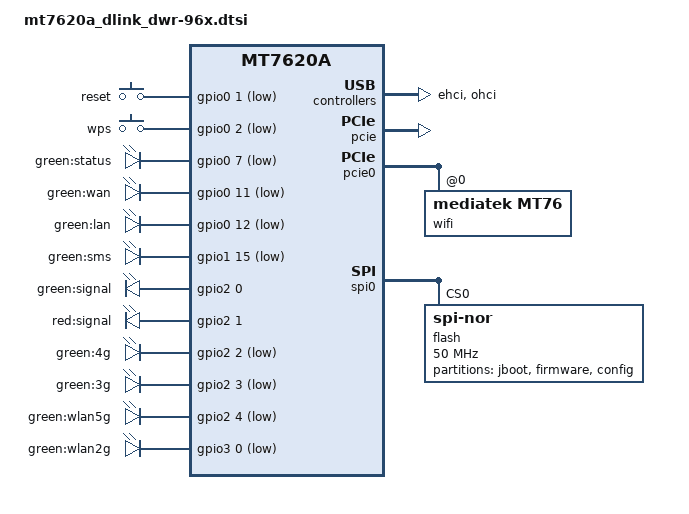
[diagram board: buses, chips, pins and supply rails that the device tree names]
// SPDX-License-Identifier: GPL-2.0-or-later
/*
 * D-Link DWR-96x Common Board Description
 * Copyright 2022 Pawel Dembicki <paweldembicki@gmail.com>
 */
#include "mt7620a.dtsi"

#include <dt-bindings/gpio/gpio.h>
#include <dt-bindings/input/input.h>
#include <dt-bindings/mtd/partitions/uimage.h>

/ {
	aliases {
		led-boot = &led_status;
		led-failsafe = &led_status;
		led-running = &led_status;
		led-upgrade = &led_status;
	};

	keys {
		compatible = "gpio-keys";

		reset {
			label = "reset";
			gpios = <&gpio0 1 GPIO_ACTIVE_LOW>;
			linux,code = <KEY_RESTART>;
		};

		wps {
			label = "wps";
			gpios = <&gpio0 2 GPIO_ACTIVE_LOW>;
			linux,code = <KEY_WPS_BUTTON>;
		};

	};

	leds {
		compatible = "gpio-leds";

		led_status: status {
			label = "green:status";
			gpios = <&gpio0 7 GPIO_ACTIVE_LOW>;
		};

		wan {
			label = "green:wan";
			gpios = <&gpio0 11 GPIO_ACTIVE_LOW>;
		};

		lan {
			label = "green:lan";
			gpios = <&gpio0 12 GPIO_ACTIVE_LOW>;
		};

		sms {
			label = "green:sms";
			gpios = <&gpio1 15 GPIO_ACTIVE_LOW>;
		};

		signal_green {
			label = "green:signal";
			gpios = <&gpio2 0 GPIO_ACTIVE_HIGH>;
		};

		signal_red {
			label = "red:signal";
			gpios = <&gpio2 1 GPIO_ACTIVE_HIGH>;
		};

		4g {
			label = "green:4g";
			gpios = <&gpio2 2 GPIO_ACTIVE_LOW>;
		};

		3g {
			label = "green:3g";
			gpios = <&gpio2 3 GPIO_ACTIVE_LOW>;
		};

		wlan5g {
			label = "green:wlan5g";
			gpios = <&gpio2 4 GPIO_ACTIVE_LOW>;
			linux,default-trigger = "phy0tpt";
		};

		wlan2g {
			label = "green:wlan2g";
			gpios = <&gpio3 0 GPIO_ACTIVE_LOW>;
			linux,default-trigger = "phy1tpt";
		};
	};
};

&ehci {
	status = "okay";
};

&gpio1 {
	status = "okay";
};

&gpio2 {
	status = "okay";
};

&gpio3 {
	status = "okay";
};

&ohci {
	status = "okay";
};

&pcie {
	status = "okay";
};

&pcie0 {
	wifi: wifi@0,0 {
		compatible = "mediatek,mt76";
		reg = <0x0000 0 0 0 0>;
		ieee80211-freq-limit = <5000000 6000000>;
		nvmem-cells = <&macaddr_config_e50e>;
		nvmem-cell-names = "mac-address";
		mac-address-increment = <(2)>;
	};
};

&spi0 {
	status = "okay";

	flash@0 {
		compatible = "jedec,spi-nor";
		reg = <0>;
		spi-max-frequency = <50000000>;

		partitions {
			compatible = "fixed-partitions";
			#address-cells = <1>;
			#size-cells = <1>;

			partition@0 {
				label = "jboot";
				reg = <0x0 0x10000>;
				read-only;
			};

			partition@10000 {
				compatible = "openwrt,uimage", "denx,uimage";
				openwrt,ih-magic = <IH_MAGIC_OKLI>;
				openwrt,offset = <0x10000>;
				label = "firmware";
				reg = <0x10000 0xfe0000>;
			};

			config: partition@ff0000 {
				compatible = "nvmem-cells";
				#address-cells = <1>;
				#size-cells = <1>;

				label = "config";
				reg = <0xff0000 0x10000>;
				read-only;

				macaddr_config_e50e: macaddr@e50e {
					reg = <0xe50e 0x6>;
				};
			};
		};
	};
};

&state_default {
	default {
		groups = "i2c", "wled", "spi refclk", "uartf", "ephy";
		function = "gpio";
	};
};
